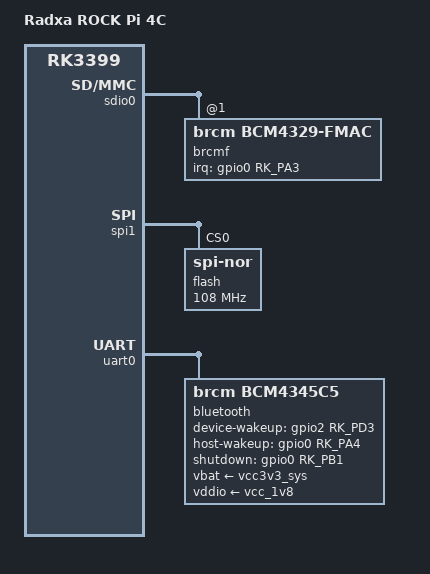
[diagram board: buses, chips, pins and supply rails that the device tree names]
// SPDX-License-Identifier: (GPL-2.0+ OR MIT)
/*
 * Copyright (c) 2019 Fuzhou Rockchip Electronics Co., Ltd
 * Copyright (c) 2019 Radxa Limited
 * Copyright (c) 2019 Amarula Solutions(India)
 */

/dts-v1/;
#include "rk3399.dtsi"
#include "rk3399-rock-pi-4.dtsi"

/ {
	model = "Radxa ROCK Pi 4C";
	compatible = "radxa,rockpi4c", "radxa,rockpi4", "rockchip,rk3399";

	aliases {
		mmc2 = &sdio0;
	};
};

&es8316 {
	pinctrl-0 = <&hp_detect &hp_int>;
	pinctrl-names = "default";
	interrupt-parent = <&gpio1>;
	interrupts = <RK_PA1 IRQ_TYPE_LEVEL_HIGH>;
};

&sdio0 {
	status = "okay";

	brcmf: wifi@1 {
		compatible = "brcm,bcm4329-fmac";
		reg = <1>;
		interrupt-parent = <&gpio0>;
		interrupts = <RK_PA3 IRQ_TYPE_LEVEL_HIGH>;
		interrupt-names = "host-wake";
		pinctrl-names = "default";
		pinctrl-0 = <&wifi_host_wake_l>;
	};
};

&sound {
	hp-det-gpio = <&gpio1 RK_PA0 GPIO_ACTIVE_HIGH>;
};

&spi1 {
	status = "okay";

	flash@0 {
		compatible = "jedec,spi-nor";
		reg = <0>;
		spi-max-frequency = <108000000>;
	};
};

&uart0 {
	status = "okay";

	bluetooth {
		compatible = "brcm,bcm4345c5";
		clocks = <&rk808 1>;
		clock-names = "lpo";
		device-wakeup-gpios = <&gpio2 RK_PD3 GPIO_ACTIVE_HIGH>;
		host-wakeup-gpios = <&gpio0 RK_PA4 GPIO_ACTIVE_HIGH>;
		shutdown-gpios = <&gpio0 RK_PB1 GPIO_ACTIVE_HIGH>;
		max-speed = <1500000>;
		pinctrl-names = "default";
		pinctrl-0 = <&bt_host_wake_l &bt_wake_l &bt_enable_h>;
		vbat-supply = <&vcc3v3_sys>;
		vddio-supply = <&vcc_1v8>;
	};
};

&vcc5v0_host {
	gpio = <&gpio3 RK_PD6 GPIO_ACTIVE_HIGH>;
};

&vcc5v0_host_en {
	rockchip,pins = <3 RK_PD6 RK_FUNC_GPIO &pcfg_pull_none>;
};
